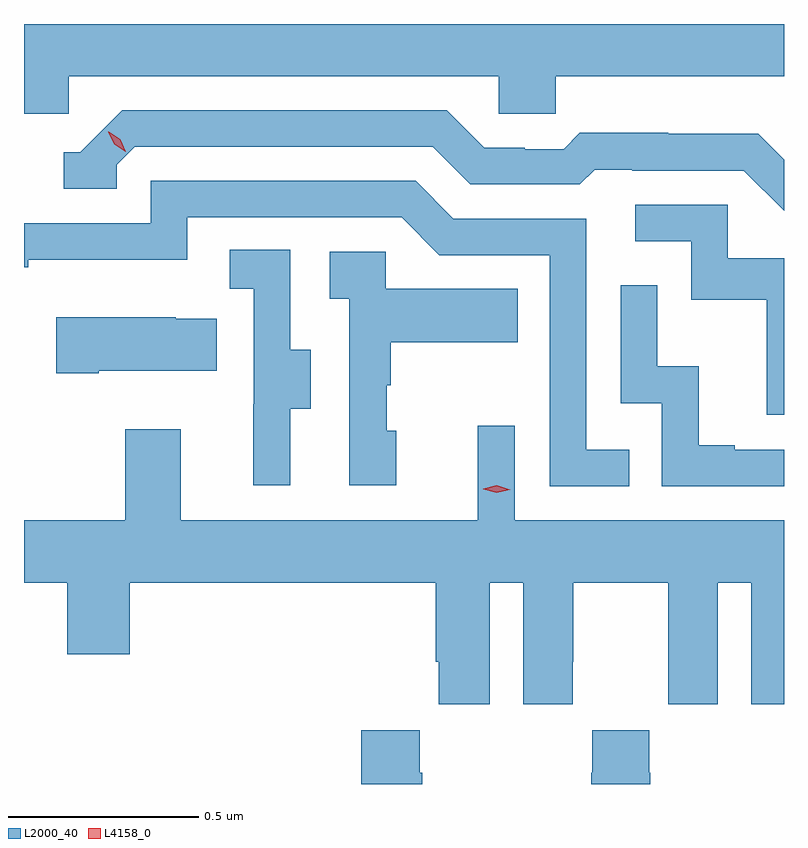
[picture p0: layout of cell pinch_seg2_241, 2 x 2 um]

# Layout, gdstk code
import gdstk
lib = gdstk.Library(unit=1e-6, precision=1e-09)
def P(c, l, *ps):  # polygons
    for p in ps: c.add(gdstk.Polygon(p, *l))
L2000_40 = (2000, 40)
L4158_0 = (4158, 0)

pinch_seg2_241 = lib.new_cell('pinch_seg2_241')
P(pinch_seg2_241, L2000_40, [(932.244,650.3),(933.375,650.3),(933.375,650.202),(933.525,650.202),(933.525,650.3),(934.126,650.3),(934.126,650.438),(932.126,650.438),(932.126,650.202),(932.244,650.202)],
  [(934.126,650.081),(934.058,650.149),(933.822,650.149),(933.822,650.152),(933.589,650.152),(933.547,650.109),(933.444,650.109),(933.444,650.112),(933.337,650.112),(933.238,650.211),(932.385,650.211),(932.274,650.1),(932.231,650.1),(932.231,650.004),(932.37,650.004),(932.37,650.067),(932.418,650.115),(933.201,650.115),(933.3,650.016),(933.589,650.016),(933.628,650.055),(933.727,650.055),(933.727,650.052),(934.02,650.052),(934.126,649.946)],
  [(933.719,649.317),(933.606,649.317),(933.606,649.926),(933.256,649.926),(933.157,650.025),(932.46,650.025),(932.46,649.914),(932.126,649.914),(932.126,649.798),(932.137,649.798),(932.137,649.817),(932.556,649.817),(932.556,649.929),(933.12,649.929),(933.219,649.83),(933.51,649.83),(933.51,649.221),(933.719,649.221)],
  [(934.126,649.821),(933.978,649.821),(933.978,649.962),(933.735,649.962),(933.735,649.866),(933.882,649.866),(933.882,649.713),(934.081,649.713),(934.081,649.41),(934.126,649.41)],
  [(932.827,649.426),(932.881,649.426),(932.881,649.581),(932.826,649.581),(932.826,649.844),(932.667,649.844),(932.667,649.741),(932.73,649.741),(932.73,649.437),(932.729,649.437),(932.729,649.224),(932.827,649.224)],
  [(933.106,649.368),(933.081,649.368),(933.081,649.487),(933.091,649.487),(933.091,649.601),(933.425,649.601),(933.425,649.741),(933.078,649.741),(933.078,649.839),(932.931,649.839),(932.931,649.715),(932.982,649.715),(932.982,649.224),(933.106,649.224)],
  [(934.126,649.317),(933.997,649.317),(933.997,649.33),(933.902,649.33),(933.902,649.538),(933.792,649.538),(933.792,649.75),(933.696,649.75),(933.696,649.44),(933.804,649.44),(933.804,649.221),(934.126,649.221)],
  [(932.323,649.526),(932.633,649.526),(932.633,649.663),(932.525,649.663),(932.525,649.666),(932.211,649.666),(932.211,649.519),(932.323,649.519)],
  [(932.404,648.968),(933.209,648.968),(933.209,648.76),(933.218,648.76),(933.218,648.648),(933.352,648.648),(933.352,648.968),(933.44,648.968),(933.44,648.648),(933.57,648.648),(933.57,648.76),(933.571,648.76),(933.571,648.968),(933.821,648.968),(933.821,648.76),(933.822,648.76),(933.822,648.648),(933.952,648.648),(933.952,648.968),(934.04,648.968),(934.04,648.648),(934.126,648.648),(934.126,649.132),(933.417,649.132),(933.417,649.381),(933.32,649.381),(933.32,649.132),(932.539,649.132),(932.539,649.372),(932.392,649.372),(932.392,649.132),(932.126,649.132),(932.126,648.968),(932.24,648.968),(932.24,648.78),(932.404,648.78)],
  [(933.621,648.467),(933.619,648.467),(933.619,648.438),(933.774,648.438),(933.774,648.467),(933.771,648.467),(933.771,648.58),(933.621,648.58)],
  [(933.174,648.467),(933.167,648.467),(933.167,648.58),(933.014,648.58),(933.014,648.438),(933.174,648.438)])
P(pinch_seg2_241, L4158_0, [(933.37,649.204),(933.334,649.214),(933.334,649.214),(933.334,649.215),(933.37,649.224),(933.406,649.213),(933.406,649.213),(933.406,649.213)],
  [(932.394,650.102),(932.364,650.122),(932.348,650.154),(932.348,650.154),(932.349,650.154),(932.379,650.135),(932.394,650.102),(932.394,650.102)])

lib.write_gds('pinch_seg2_241.gds')
